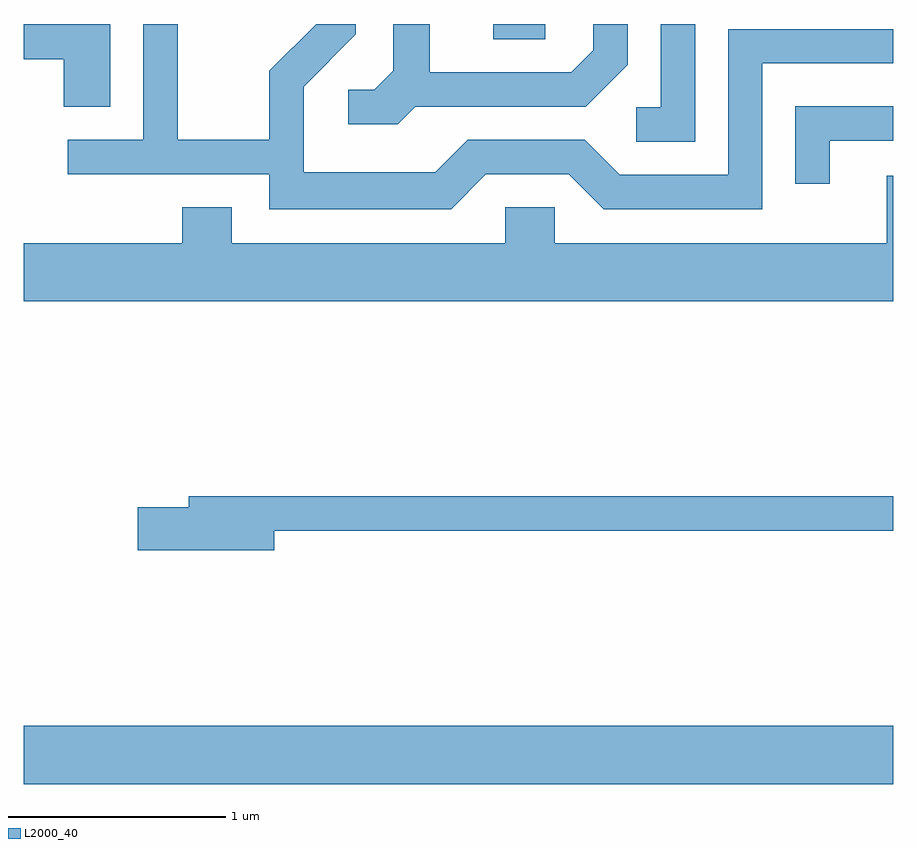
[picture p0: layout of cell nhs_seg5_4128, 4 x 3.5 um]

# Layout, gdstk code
import gdstk
lib = gdstk.Library(unit=1e-6, precision=1e-09)
def R(c, l, rs):  # rectangles x0, y0, x1, y1
    for r in rs: c.add(gdstk.rectangle(r[:2], r[2:], *l))
def P(c, l, *ps):  # polygons
    for p in ps: c.add(gdstk.Polygon(p, *l))
L2000_40 = (2000, 40)

nhs_seg5_4128 = lib.new_cell('nhs_seg5_4128')
R(nhs_seg5_4128, L2000_40, [(307.611,1454.576,311.611,1454.844), (309.771,1458.001,310.009,1458.072)])
P(nhs_seg5_4128, L2000_40, [(309.737,1457.381),(310.119,1457.381),(310.279,1457.221),(311.009,1457.221),(311.009,1457.891),(311.611,1457.891),(311.611,1458.049),(310.851,1458.049),(310.851,1457.379),(310.352,1457.379),(310.192,1457.539),(309.654,1457.539),(309.504,1457.389),(308.899,1457.389),(308.899,1457.784),(309.139,1458.024),(309.139,1458.072),(308.956,1458.072),(308.741,1457.857),(308.741,1457.539),(308.319,1457.539),(308.319,1458.072),(308.161,1458.072),(308.161,1457.539),(307.813,1457.539),(307.813,1457.381),(308.741,1457.381),(308.741,1457.221),(309.577,1457.221)],
  [(310.699,1458.072),(310.541,1458.072),(310.541,1457.689),(310.428,1457.689),(310.428,1457.531),(310.699,1457.531)],
  [(309.412,1457.691),(310.197,1457.691),(310.389,1457.884),(310.389,1458.072),(310.231,1458.072),(310.231,1457.952),(310.129,1457.849),(309.479,1457.849),(309.479,1458.072),(309.311,1458.072),(309.311,1457.857),(309.224,1457.769),(309.103,1457.769),(309.103,1457.611),(309.332,1457.611)],
  [(308.009,1458.072),(307.611,1458.072),(307.611,1457.911),(307.796,1457.911),(307.796,1457.691),(308.009,1457.691)],
  [(311.319,1457.536),(311.611,1457.536),(311.611,1457.694),(311.161,1457.694),(311.161,1457.338),(311.319,1457.338)],
  [(311.611,1457.374),(311.581,1457.374),(311.581,1457.064),(310.054,1457.064),(310.054,1457.229),(309.826,1457.229),(309.826,1457.064),(308.569,1457.064),(308.569,1457.229),(308.341,1457.229),(308.341,1457.064),(307.611,1457.064),(307.611,1456.796),(311.611,1456.796)],
  [(308.764,1455.741),(311.611,1455.741),(311.611,1455.899),(308.371,1455.899),(308.371,1455.849),(308.136,1455.849),(308.136,1455.651),(308.764,1455.651)])

lib.write_gds('nhs_seg5_4128.gds')
